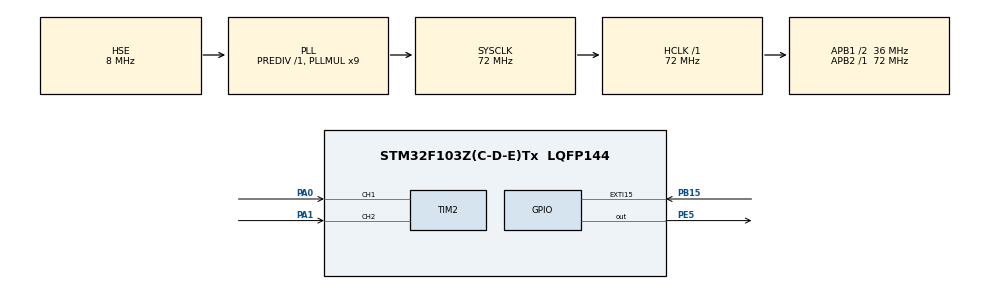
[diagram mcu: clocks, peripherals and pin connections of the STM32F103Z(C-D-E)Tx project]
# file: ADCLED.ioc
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Mcu.Family=STM32F1
Mcu.Name=STM32F103Z(C-D-E)Tx
Mcu.Package=LQFP144
NVIC.PriorityGroup=NVIC_PRIORITYGROUP_4
OSC_IN.Mode=HSE-External-Oscillator
OSC_IN.Signal=RCC_OSC_IN
OSC_OUT.Mode=HSE-External-Oscillator
OSC_OUT.Signal=RCC_OSC_OUT
PA0-WKUP.Signal=S_TIM2_CH1_ETR
PA1.Signal=S_TIM2_CH2
PA13.Mode=Serial_Wire
PA13.Signal=SYS_JTMS-SWDIO
PA14.Mode=Serial_Wire
PA14.Signal=SYS_JTCK-SWCLK
PB15.Signal=GPXTI15
PE5.PinState=GPIO_PIN_SET
PE5.Signal=GPIO_Output
ProjectManager.HeapSize=0x200
ProjectManager.StackSize=0x400
ProjectManager.TargetToolchain=MDK-ARM V5.32
RCC.ADCPresc=RCC_ADCPCLK2_DIV6
RCC.AHBFreq_Value=72000000
RCC.APB1CLKDivider=RCC_HCLK_DIV2
RCC.APB1Freq_Value=36000000
RCC.APB1TimFreq_Value=72000000
RCC.APB2Freq_Value=72000000
RCC.APB2TimFreq_Value=72000000
RCC.HCLKFreq_Value=72000000
RCC.PLLMUL=RCC_PLL_MUL9
RCC.PLLSourceVirtual=RCC_PLLSOURCE_HSE
RCC.SYSCLKFreq_VALUE=72000000
RCC.SYSCLKSource=RCC_SYSCLKSOURCE_PLLCLK
RCC.USBFreq_Value=72000000
SH.S_TIM2_CH1_ETR.0=TIM2_CH1,Encoder_Interface
SH.S_TIM2_CH2.0=TIM2_CH2,Encoder_Interface
board=custom

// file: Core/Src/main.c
/* USER CODE BEGIN Header */
/**
  ******************************************************************************
  * @file           : main.c
  * @brief          : Main program body
  ******************************************************************************
  * @attention
  *
  * Copyright (c) 2025 STMicroelectronics.
  * All rights reserved.
  *
  * This software is licensed under terms that can be found in the LICENSE file
  * in the root directory of this software component.
  * If no LICENSE file comes with this software, it is provided AS-IS.
  *
  ******************************************************************************
  */
/* USER CODE END Header */
#include "main.h"
#include "tim.h"
#include "gpio.h"

/* USER CODE BEGIN Includes */
int32_t last_cnt = 0;
/* USER CODE END Includes */

void SystemClock_Config(void);

int main(void)
{

  /* MCU Configuration--------------------------------------------------------*/

  /* Reset of all peripherals, Initializes the Flash interface and the Systick. */
  HAL_Init();

  /* Configure the system clock */
  SystemClock_Config();

  /* Initialize all configured peripherals */
  MX_GPIO_Init();
  MX_TIM2_Init();
  /* USER CODE BEGIN 2 */
 HAL_TIM_Encoder_Start(&htim2, TIM_CHANNEL_ALL);   // 启动正交解码
  __HAL_TIM_SET_COUNTER(&htim2, 0);                 // 计数器清零
  /* USER CODE END 2 */

  /* Infinite loop */
  /* USER CODE BEGIN WHILE */
  while (1)
  {
		int32_t now = (int16_t)__HAL_TIM_GET_COUNTER(&htim2); // 读 16 位计数器
    int32_t diff = now - last_cnt;

    if (diff >= 4)            // 顺时针 1 格（4 个脉冲）
    {
      HAL_GPIO_WritePin(GPIOE, GPIO_PIN_5, GPIO_PIN_RESET); // 点亮 LED
      last_cnt = now;
    }
    else if (diff <= -4)      // 逆时针 1 格
    {
      HAL_GPIO_WritePin(GPIOE, GPIO_PIN_5, GPIO_PIN_SET);   // 熄灭 LED
      last_cnt = now;
    }
    HAL_Delay(10);            // 简单消抖

    /* USER CODE END WHILE */

  }
}

void SystemClock_Config(void)
{
  RCC_OscInitTypeDef RCC_OscInitStruct = {0};
  RCC_ClkInitTypeDef RCC_ClkInitStruct = {0};

  /** Initializes the RCC Oscillators according to the specified parameters
  * in the RCC_OscInitTypeDef structure.
  */
  RCC_OscInitStruct.OscillatorType = RCC_OSCILLATORTYPE_HSE;
  RCC_OscInitStruct.HSEState = RCC_HSE_ON;
  RCC_OscInitStruct.HSEPredivValue = RCC_HSE_PREDIV_DIV1;
  RCC_OscInitStruct.HSIState = RCC_HSI_ON;
  RCC_OscInitStruct.PLL.PLLState = RCC_PLL_ON;
  RCC_OscInitStruct.PLL.PLLSource = RCC_PLLSOURCE_HSE;
  RCC_OscInitStruct.PLL.PLLMUL = RCC_PLL_MUL9;
  if (HAL_RCC_OscConfig(&RCC_OscInitStruct) != HAL_OK)
  {
    Error_Handler();
  }

  /** Initializes the CPU, AHB and APB buses clocks
  */
  RCC_ClkInitStruct.ClockType = RCC_CLOCKTYPE_HCLK|RCC_CLOCKTYPE_SYSCLK
                              |RCC_CLOCKTYPE_PCLK1|RCC_CLOCKTYPE_PCLK2;
  RCC_ClkInitStruct.SYSCLKSource = RCC_SYSCLKSOURCE_PLLCLK;
  RCC_ClkInitStruct.AHBCLKDivider = RCC_SYSCLK_DIV1;
  RCC_ClkInitStruct.APB1CLKDivider = RCC_HCLK_DIV2;
  RCC_ClkInitStruct.APB2CLKDivider = RCC_HCLK_DIV1;

  if (HAL_RCC_ClockConfig(&RCC_ClkInitStruct, FLASH_LATENCY_2) != HAL_OK)
  {
    Error_Handler();
  }
}

/* USER CODE BEGIN 4 */
void HAL_GPIO_EXTI_Callback(uint16_t GPIO_Pin)
{
  if (GPIO_Pin == GPIO_PIN_15)
    HAL_GPIO_WritePin(GPIOE, GPIO_PIN_5, GPIO_PIN_SET); // 按键按下熄灭
}
/* USER CODE END 4 */

void Error_Handler(void)
{
  __disable_irq();
  while (1)
  {
  }
}
